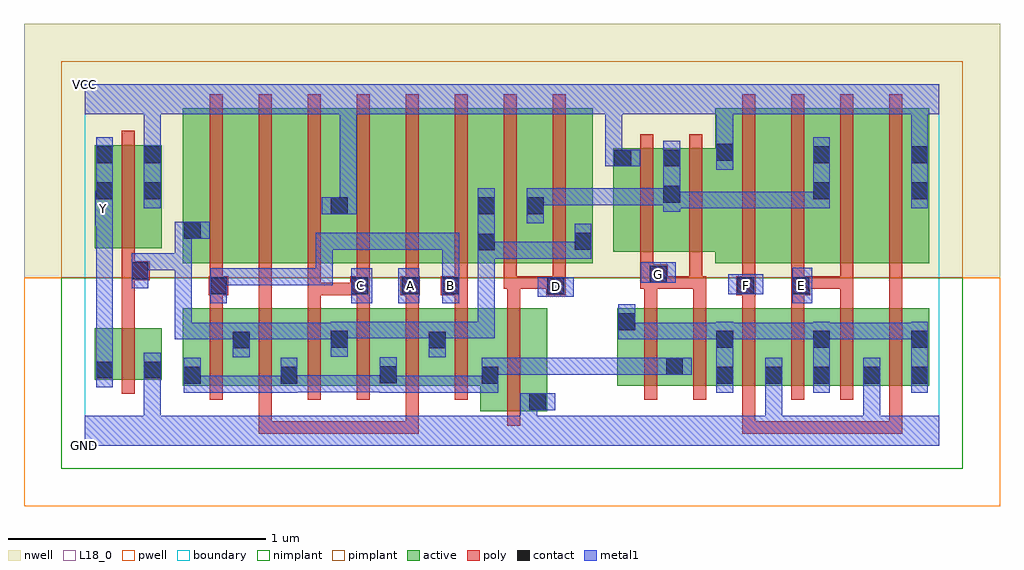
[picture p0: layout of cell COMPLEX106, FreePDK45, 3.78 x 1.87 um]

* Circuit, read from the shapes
.subckt COMPLEX106 A B C D E F G GND VCC Y
M1 GND n1 Y VSUBS nfet w=0.2u l=0.05u
M2 n1 B n2 VSUBS nfet w=0.3u l=0.05u m=2
M3 n2 A n1 VSUBS nfet w=0.3u l=0.05u m=2
M4 n1 C n2 VSUBS nfet w=0.3u l=0.05u m=2
M5 GND D n2 VSUBS nfet w=0.4u l=0.05u
M6 n2 G n3 VSUBS nfet w=0.3u l=0.05u m=2
M7 GND F n3 VSUBS nfet w=0.3u l=0.05u m=2
M8 n3 E GND VSUBS nfet w=0.3u l=0.05u m=2
M9 VCC n1 Y n4 pfet w=0.4u l=0.05u
M10 n5 B n1 n4 pfet w=0.6u l=0.05u
M11 n6 A n5 n4 pfet w=0.6u l=0.05u
M12 VCC C n6 n4 pfet w=0.6u l=0.05u
M13 n7 C VCC n4 pfet w=0.6u l=0.05u
M14 n8 A n7 n4 pfet w=0.6u l=0.05u
M15 n1 B n8 n4 pfet w=0.6u l=0.05u
M16 n9 D n1 n4 pfet w=0.6u l=0.05u m=2
M17 n9 G VCC n4 pfet w=0.4u l=0.05u m=2
M18 n10 F VCC n4 pfet w=0.6u l=0.05u
M19 n9 E n10 n4 pfet w=0.6u l=0.05u
M20 n11 E n9 n4 pfet w=0.6u l=0.05u
M21 VCC F n11 n4 pfet w=0.6u l=0.05u
.ends

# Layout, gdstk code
import gdstk
lib = gdstk.Library(unit=1e-6, precision=1e-09)
def R(c, l, rs):  # rectangles x0, y0, x1, y1
    for r in rs: c.add(gdstk.rectangle(r[:2], r[2:], *l))
def A(c, l, x, y, w, h, nx, ny, dx, dy):  # array of equal rectangles
    R(c, l, [(x+i*dx, y+j*dy, x+i*dx+w, y+j*dy+h) for i in range(nx) for j in range(ny)])
active = (1, 0)
pwell = (2, 0)
nwell = (3, 0)
nimplant = (4, 0)
pimplant = (5, 0)
poly = (9, 0)
contact = (10, 0)
metal1 = (11, 0)
L18_0 = (18, 0)
boundary = (235, 0)

complex106 = lib.new_cell('COMPLEX106')
R(complex106, active, [(1.535,0.132,1.795,0.532), (1.72,0.132,1.795,0.532), (1.535,0.2,1.61,0.405), (0.38,0.232,0.455,0.532), (0.38,0.232,0.645,0.532), (0.57,0.232,0.83,0.532), (0.755,0.232,1.025,0.532), (0.95,0.232,1.215,0.532), (1.14,0.232,1.215,0.437), (1.14,0.232,1.405,0.532), (1.33,0.232,1.61,0.532), (2.065,0.232,2.325,0.532), (2.25,0.232,2.52,0.532), (2.25,0.232,2.325,0.392), (2.445,0.232,2.52,0.532), (2.445,0.232,2.71,0.532), (2.635,0.232,2.895,0.532), (2.635,0.232,2.71,0.397), (2.82,0.232,3.09,0.532), (2.82,0.232,2.895,0.517), (3.015,0.232,3.275,0.532), (3.015,0.232,3.09,0.437), (3.2,0.232,3.275,0.532), (0.755,0.235,0.83,0.437), (0.04,0.255,0.115,0.455), (0.04,0.255,0.3,0.455), (0.225,0.255,0.3,0.455), (0.57,0.295,0.645,0.447), (0.95,0.295,1.025,0.517), (1.33,0.295,1.405,0.447), (2.065,0.295,2.14,0.532), (0.38,0.707,0.605,1.307), (0.38,0.707,0.485,1.2), (0.605,0.707,0.795,1.307), (0.795,0.707,1.025,1.307), (0.95,0.707,1.175,1.307), (0.95,0.707,1.025,1.305), (1.175,0.707,1.365,1.307), (1.365,0.707,1.595,1.307), (1.52,0.707,1.595,1.2), (1.52,0.707,1.785,1.307), (1.71,0.707,1.785,1.2), (1.71,0.707,1.97,1.307), (1.895,0.707,1.97,1.047), (2.445,0.707,2.67,1.307), (2.67,0.707,2.895,1.307), (2.82,0.707,3.05,1.307), (2.82,0.707,2.895,1.2), (3.05,0.707,3.275,1.307), (3.2,0.707,3.275,1.307), (2.05,0.752,2.315,1.152), (2.24,0.752,2.315,1.152), (2.24,0.752,2.52,1.152), (0.04,0.765,0.115,1.165), (0.04,0.765,0.3,1.165), (0.225,0.765,0.3,1.165), (2.05,0.907,2.125,1.152), (2.445,0.907,2.52,1.175)])
R(complex106, pwell, [(-0.235,-0.235,3.55,0.65)])
R(complex106, nwell, [(-0.235,0.65,3.55,1.635)])
R(complex106, nimplant, [(-0.09,-0.09,3.405,0.65)])
R(complex106, pimplant, [(-0.09,0.65,3.405,1.49)])
A(complex106, poly, 0.485, 0.177, 0.05, 0.41, 6, 1, 0.19, 0)
A(complex106, poly, 2.17, 0.177, 0.05, 0.41, 6, 1, 0.19, 0)
A(complex106, poly, 0.485, 0.537, 0.05, 0.095, 6, 1, 0.19, 0)
A(complex106, poly, 1.055, 0.607, 0.05, 0.095, 5, 1, 0.19, 0)
A(complex106, poly, 2.55, 0.607, 0.05, 0.095, 3, 1, 0.19, 0)
A(complex106, poly, 0.485, 0.652, 0.05, 0.71, 8, 1, 0.19, 0)
A(complex106, poly, 2.55, 0.652, 0.05, 0.71, 4, 1, 0.19, 0)
R(complex106, poly, [(0.675,0.045,0.725,0.095), (0.675,0.045,0.725,0.095), (0.675,0.045,0.725,0.095), (0.675,0.045,0.725,0.227), (0.675,0.045,0.857,0.095), (0.807,0.045,0.857,0.095), (0.807,0.045,1.142,0.095), (1.092,0.045,1.142,0.095), (1.092,0.045,1.142,0.095), (1.092,0.045,1.142,0.095), (1.092,0.045,1.295,0.095), (1.245,0.045,1.295,0.095), (1.245,0.045,1.295,0.095), (1.245,0.045,1.295,0.095), (1.245,0.045,1.295,0.227), (2.55,0.045,2.6,0.095), (2.55,0.045,2.6,0.095), (2.55,0.045,2.6,0.095), (2.55,0.045,2.6,0.227), (2.55,0.045,2.732,0.095), (2.682,0.045,2.732,0.095), (2.682,0.045,2.947,0.095), (2.897,0.045,2.947,0.095), (2.897,0.045,2.947,0.095), (2.897,0.045,2.947,0.095), (2.897,0.045,3.17,0.095), (3.12,0.045,3.17,0.095), (3.12,0.045,3.17,0.095), (3.12,0.045,3.17,0.095), (3.12,0.045,3.17,0.227), (1.64,0.077,1.69,0.587), (0.145,0.2,0.195,0.51), (0.145,0.46,0.195,0.69), (1.64,0.537,1.69,0.657), (2.17,0.537,2.22,0.657), (2.36,0.537,2.41,0.657), (2.55,0.537,2.6,0.632), (2.74,0.537,2.79,0.632), (2.93,0.537,2.98,0.657), (3.12,0.537,3.17,0.632), (0.482,0.582,0.557,0.657), (0.675,0.582,0.725,0.702), (0.675,0.582,0.725,0.632), (0.865,0.582,0.915,0.702), (0.865,0.582,0.915,0.632), (0.865,0.582,0.915,0.632), (0.865,0.582,0.915,0.632), (0.865,0.582,1.08,0.632), (1.03,0.582,1.105,0.657), (1.225,0.582,1.3,0.657), (1.382,0.582,1.485,0.657), (1.79,0.582,1.865,0.657), (2.527,0.582,2.602,0.657), (2.74,0.582,2.815,0.657), (3.12,0.582,3.17,0.702), (3.12,0.582,3.17,0.632), (0.485,0.607,0.535,0.702), (1.625,0.607,1.69,0.657), (1.64,0.607,1.84,0.657), (1.79,0.607,1.84,0.657), (1.79,0.607,1.84,0.657), (2.155,0.607,2.262,0.702), (2.212,0.607,2.395,0.657), (2.345,0.607,2.395,0.657), (2.345,0.607,2.395,0.657), (2.345,0.607,2.395,0.747), (2.345,0.607,2.41,0.657), (2.765,0.607,2.98,0.657), (2.93,0.607,2.98,0.657), (2.93,0.607,2.98,0.657), (2.93,0.607,2.98,0.657), (0.145,0.64,0.252,0.715), (2.155,0.652,2.205,0.747), (0.145,0.665,0.195,0.76), (2.155,0.697,2.205,1.207), (2.345,0.697,2.395,1.207), (0.145,0.71,0.195,1.22)])
R(complex106, contact, [(1.725,0.137,1.79,0.202), (0.385,0.24,0.45,0.305), (0.76,0.24,0.825,0.305), (1.54,0.24,1.605,0.305), (2.45,0.24,2.515,0.305), (2.64,0.24,2.705,0.305), (2.825,0.24,2.89,0.305), (3.02,0.24,3.085,0.305), (3.205,0.24,3.27,0.305), (1.145,0.242,1.21,0.307), (0.045,0.26,0.11,0.325), (0.23,0.26,0.295,0.325), (2.255,0.275,2.32,0.34), (0.575,0.377,0.64,0.442), (1.335,0.377,1.4,0.442), (0.955,0.38,1.02,0.445), (2.45,0.38,2.515,0.445), (2.825,0.38,2.89,0.445), (3.205,0.38,3.27,0.445), (2.07,0.447,2.135,0.512), (0.487,0.587,0.552,0.652), (1.035,0.587,1.1,0.652), (1.23,0.587,1.295,0.652), (1.387,0.587,1.452,0.652), (1.795,0.587,1.86,0.652), (2.532,0.587,2.597,0.652), (2.745,0.587,2.81,0.652), (2.192,0.632,2.257,0.697), (0.182,0.645,0.247,0.71), (1.525,0.757,1.59,0.822), (1.9,0.76,1.965,0.825), (0.385,0.802,0.45,0.867), (0.955,0.897,1.02,0.962), (1.525,0.897,1.59,0.962), (1.715,0.897,1.78,0.962), (2.245,0.942,2.31,1.007), (0.045,0.955,0.11,1.02), (0.23,0.955,0.295,1.02), (2.825,0.955,2.89,1.02), (3.205,0.955,3.27,1.02), (2.055,1.082,2.12,1.147), (2.245,1.082,2.31,1.147), (0.045,1.095,0.11,1.16), (0.23,1.095,0.295,1.16), (2.825,1.095,2.89,1.16), (3.205,1.095,3.27,1.16), (2.45,1.105,2.515,1.17)])
R(complex106, metal1, [(0,0,3.315,0.115), (0.23,0.05,0.295,0.115), (0.23,0.05,0.295,0.115), (0.23,0.05,0.295,0.115), (0.23,0.05,0.295,0.115), (0.23,0.05,0.295,0.115), (0.23,0.05,0.295,0.115), (0.23,0.05,0.295,0.29), (1.69,0.05,1.755,0.115), (1.69,0.05,1.755,0.115), (1.69,0.05,1.755,0.202), (2.64,0.05,2.705,0.27), (2.64,0.05,2.705,0.115), (2.64,0.05,2.705,0.115), (3.02,0.05,3.085,0.27), (3.02,0.05,3.085,0.115), (3.02,0.05,3.085,0.115), (3.02,0.05,3.085,0.115), (3.02,0.05,3.085,0.115), (1.69,0.137,1.825,0.202), (0.385,0.205,0.45,0.34), (0.385,0.205,0.552,0.27), (0.487,0.205,0.552,0.27), (0.487,0.205,0.687,0.27), (0.622,0.205,0.687,0.27), (0.622,0.205,0.69,0.27), (0.625,0.205,0.69,0.27), (0.625,0.205,0.825,0.27), (0.76,0.205,0.825,0.34), (1.145,0.205,1.452,0.27), (1.145,0.205,1.21,0.272), (1.387,0.205,1.452,0.27), (1.387,0.205,1.452,0.27), (1.387,0.205,1.452,0.27), (1.387,0.205,1.605,0.27), (1.54,0.205,1.605,0.34), (2.45,0.205,2.515,0.48), (2.64,0.205,2.705,0.27), (2.64,0.205,2.705,0.27), (2.64,0.205,2.705,0.34), (2.825,0.205,2.89,0.48), (3.02,0.205,3.085,0.34), (3.205,0.205,3.27,0.48), (0.76,0.207,0.827,0.272), (0.762,0.207,0.827,0.272), (0.762,0.207,1.072,0.272), (1.007,0.207,1.072,0.272), (1.007,0.207,1.072,0.272), (1.007,0.207,1.072,0.272), (1.007,0.207,1.21,0.272), (1.145,0.207,1.21,0.272), (1.145,0.207,1.21,0.342), (0.045,0.225,0.11,0.36), (0.23,0.225,0.295,0.36), (1.54,0.275,1.605,0.34), (1.54,0.275,1.605,0.34), (1.54,0.275,1.827,0.34), (1.762,0.275,1.827,0.34), (1.762,0.275,1.827,0.34), (1.762,0.275,1.827,0.34), (1.762,0.275,1.965,0.34), (1.9,0.275,1.965,0.34), (1.9,0.275,1.965,0.34), (1.9,0.275,1.965,0.34), (1.9,0.275,2.102,0.34), (2.037,0.275,2.102,0.34), (2.037,0.275,2.285,0.34), (2.22,0.275,2.355,0.34), (0.045,0.295,0.11,0.917), (0.575,0.342,0.64,0.477), (1.335,0.342,1.4,0.48), (0.955,0.345,1.02,0.48), (0.35,0.412,0.415,0.477), (0.35,0.412,0.552,0.477), (0.35,0.412,0.415,0.745), (0.487,0.412,0.552,0.477), (0.487,0.412,0.64,0.477), (0.575,0.412,0.69,0.477), (0.625,0.412,0.69,0.477), (0.625,0.412,0.825,0.477), (0.76,0.412,0.825,0.477), (0.76,0.412,0.827,0.477), (0.762,0.412,0.827,0.477), (0.762,0.412,1.02,0.477), (2.07,0.412,2.135,0.477), (2.07,0.412,2.135,0.477), (2.07,0.412,2.135,0.547), (2.07,0.412,2.272,0.477), (2.207,0.412,2.272,0.477), (2.207,0.412,2.272,0.477), (2.207,0.412,2.272,0.477), (2.207,0.412,2.515,0.477), (2.45,0.412,2.515,0.477), (2.45,0.412,2.515,0.477), (2.45,0.412,2.752,0.477), (2.687,0.412,2.752,0.477), (2.687,0.412,2.752,0.477), (2.687,0.412,2.752,0.477), (2.687,0.412,2.89,0.477), (2.825,0.412,3.027,0.477), (2.962,0.412,3.027,0.477), (2.962,0.412,3.027,0.477), (2.962,0.412,3.027,0.477), (2.962,0.412,3.27,0.477), (3.205,0.412,3.27,0.477), (3.205,0.412,3.27,0.477), (0.955,0.415,1.02,0.48), (0.955,0.415,1.02,0.48), (0.955,0.415,1.21,0.48), (1.145,0.415,1.21,0.48), (1.145,0.415,1.21,0.48), (1.145,0.415,1.21,0.48), (1.145,0.415,1.4,0.48), (1.335,0.415,1.447,0.48), (1.382,0.415,1.447,0.48), (1.382,0.415,1.59,0.48), (1.525,0.415,1.59,0.48), (1.525,0.415,1.59,0.48), (1.525,0.415,1.59,0.48), (1.525,0.415,1.59,0.787), (0.487,0.552,0.552,0.687), (1.035,0.552,1.115,0.687), (1.217,0.552,1.297,0.687), (1.387,0.552,1.452,0.687), (2.745,0.552,2.822,0.69), (1.757,0.577,1.897,0.652), (2.497,0.587,2.632,0.665), (0.182,0.61,0.247,0.745), (0.487,0.622,0.687,0.687), (0.622,0.622,0.687,0.687), (0.622,0.622,0.69,0.687), (0.625,0.622,0.69,0.687), (0.625,0.622,0.825,0.687), (0.76,0.622,0.825,0.687), (0.76,0.622,0.827,0.687), (0.762,0.622,0.827,0.687), (0.762,0.622,0.962,0.687), (0.897,0.622,0.962,0.687), (0.897,0.622,0.962,0.825), (1.387,0.622,1.452,0.687), (1.387,0.622,1.452,0.687), (1.387,0.622,1.452,0.825), (2.157,0.632,2.292,0.71), (0.182,0.68,0.415,0.745), (0.35,0.68,0.415,0.745), (0.35,0.68,0.415,0.745), (0.35,0.68,0.415,0.745), (0.35,0.68,0.415,0.867), (1.525,0.722,1.59,0.997), (1.525,0.725,1.59,0.79), (1.525,0.725,1.59,0.79), (1.525,0.725,1.827,0.79), (1.762,0.725,1.827,0.79), (1.762,0.725,1.827,0.79), (1.762,0.725,1.827,0.79), (1.762,0.725,1.965,0.79), (1.9,0.725,1.965,0.86), (0.897,0.76,0.965,0.825), (0.9,0.76,0.965,0.825), (0.9,0.76,0.965,0.825), (0.9,0.76,1.262,0.825), (1.197,0.76,1.262,0.825), (1.197,0.76,1.262,0.825), (1.197,0.76,1.262,0.825), (1.197,0.76,1.452,0.825), (1.387,0.76,1.452,0.825), (0.35,0.802,0.485,0.867), (0.042,0.852,0.11,0.987), (1.715,0.862,1.78,0.997), (0.92,0.897,1.055,0.962), (0.99,0.897,1.055,1.35), (2.245,0.907,2.31,1.182), (0.045,0.92,0.11,1.195), (0.045,0.92,0.11,0.985), (0.23,0.92,0.295,1.195), (2.245,0.92,2.327,0.985), (2.262,0.92,2.327,0.985), (2.262,0.92,2.567,0.985), (2.502,0.92,2.567,0.985), (2.502,0.92,2.567,0.985), (2.502,0.92,2.567,0.985), (2.502,0.92,2.705,0.985), (2.64,0.92,2.705,0.985), (2.64,0.92,2.89,0.985), (2.825,0.92,2.89,1.195), (2.825,0.92,2.89,0.985), (2.825,0.92,2.89,0.985), (3.205,0.92,3.27,1.195), (1.715,0.932,1.78,0.997), (1.715,0.932,1.78,0.997), (1.715,0.932,1.965,0.997), (1.9,0.932,1.965,0.997), (1.9,0.932,2.102,0.997), (2.037,0.932,2.102,0.997), (2.037,0.932,2.102,0.997), (2.037,0.932,2.102,0.997), (2.037,0.932,2.102,0.997), (2.037,0.932,2.102,0.997), (2.037,0.932,2.31,0.997), (2.45,1.07,2.515,1.205), (2.02,1.082,2.085,1.147), (2.02,1.082,2.085,1.147), (2.02,1.082,2.155,1.147), (2.02,1.082,2.085,1.35), (0.23,1.13,0.295,1.35), (3.205,1.13,3.27,1.35), (2.45,1.14,2.515,1.35), (0,1.285,3.315,1.4), (0.23,1.285,0.295,1.35), (0.23,1.285,0.295,1.35)])
R(complex106, L18_0, [(0,0,3.315,0.115), (0.23,0.05,0.295,0.115), (0.23,0.05,0.295,0.115), (0.23,0.05,0.295,0.115), (0.23,0.05,0.295,0.115), (0.23,0.05,0.295,0.115), (0.23,0.05,0.295,0.115), (0.23,0.05,0.295,0.29), (1.69,0.05,1.755,0.115), (1.69,0.05,1.755,0.115), (1.69,0.05,1.755,0.202), (2.64,0.05,2.705,0.115), (2.64,0.05,2.705,0.115), (2.64,0.05,2.705,0.27), (3.02,0.05,3.085,0.115), (3.02,0.05,3.085,0.115), (3.02,0.05,3.085,0.115), (3.02,0.05,3.085,0.115), (3.02,0.05,3.085,0.27), (1.69,0.137,1.825,0.202), (2.64,0.205,2.705,0.34), (2.64,0.205,2.705,0.27), (2.64,0.205,2.705,0.27), (3.02,0.205,3.085,0.34), (0.045,0.225,0.11,0.36), (0.23,0.225,0.295,0.36), (0.045,0.295,0.11,0.917), (0.487,0.552,0.552,0.687), (1.035,0.552,1.115,0.687), (1.217,0.552,1.297,0.687), (1.387,0.552,1.452,0.687), (2.745,0.552,2.822,0.69), (1.757,0.577,1.897,0.652), (1.797,0.582,1.862,0.647), (1.037,0.587,1.102,0.652), (1.232,0.587,1.297,0.652), (1.387,0.587,1.452,0.652), (2.497,0.587,2.632,0.665), (2.532,0.587,2.597,0.652), (2.747,0.587,2.812,0.652), (0.487,0.622,0.687,0.687), (0.622,0.622,0.687,0.687), (0.622,0.622,0.69,0.687), (0.625,0.622,0.69,0.687), (0.625,0.622,0.825,0.687), (0.76,0.622,0.825,0.687), (0.76,0.622,0.827,0.687), (0.762,0.622,0.827,0.687), (0.762,0.622,0.962,0.687), (0.897,0.622,0.962,0.687), (0.897,0.622,0.962,0.825), (1.387,0.622,1.452,0.687), (1.387,0.622,1.452,0.687), (1.387,0.622,1.452,0.825), (2.157,0.632,2.292,0.71), (2.192,0.632,2.257,0.697), (0.897,0.76,0.965,0.825), (0.9,0.76,0.965,0.825), (0.9,0.76,0.965,0.825), (0.9,0.76,1.262,0.825), (1.197,0.76,1.262,0.825), (1.197,0.76,1.262,0.825), (1.197,0.76,1.262,0.825), (1.197,0.76,1.452,0.825), (1.387,0.76,1.452,0.825), (0.042,0.852,0.11,0.987), (0.042,0.887,0.107,0.952), (0.92,0.897,1.055,0.962), (0.99,0.897,1.055,1.35), (0.045,0.92,0.11,1.195), (0.045,0.92,0.11,0.985), (0.23,0.92,0.295,1.195), (3.205,0.92,3.27,1.195), (2.45,1.07,2.515,1.205), (2.02,1.082,2.085,1.147), (2.02,1.082,2.085,1.147), (2.02,1.082,2.155,1.147), (2.02,1.082,2.085,1.35), (0.23,1.13,0.295,1.35), (3.205,1.13,3.27,1.35), (2.45,1.14,2.515,1.35), (0,1.285,3.315,1.4), (0.23,1.285,0.295,1.35), (0.23,1.285,0.295,1.35)])
R(complex106, boundary, [(0,0,3.315,1.4)])
complex106.add(gdstk.Label('A', (1.265,0.62), layer=11, texttype=0))
complex106.add(gdstk.Label('B', (1.42,0.62), layer=11, texttype=0))
complex106.add(gdstk.Label('C', (1.07,0.62), layer=11, texttype=0))
complex106.add(gdstk.Label('D', (1.83,0.615), layer=11, texttype=0))
complex106.add(gdstk.Label('E', (2.78,0.62), layer=11, texttype=0))
complex106.add(gdstk.Label('F', (2.565,0.62), layer=11, texttype=0))
complex106.add(gdstk.Label('G', (2.225,0.665), layer=11, texttype=0))
complex106.add(gdstk.Label('Y', (0.075,0.92), layer=11, texttype=0))
complex106.add(gdstk.Label('VCC', (0,1.4), layer=11, texttype=0))
complex106.add(gdstk.Label('GND', (0,0), layer=11, texttype=0))

lib.write_gds('COMPLEX106.gds')
